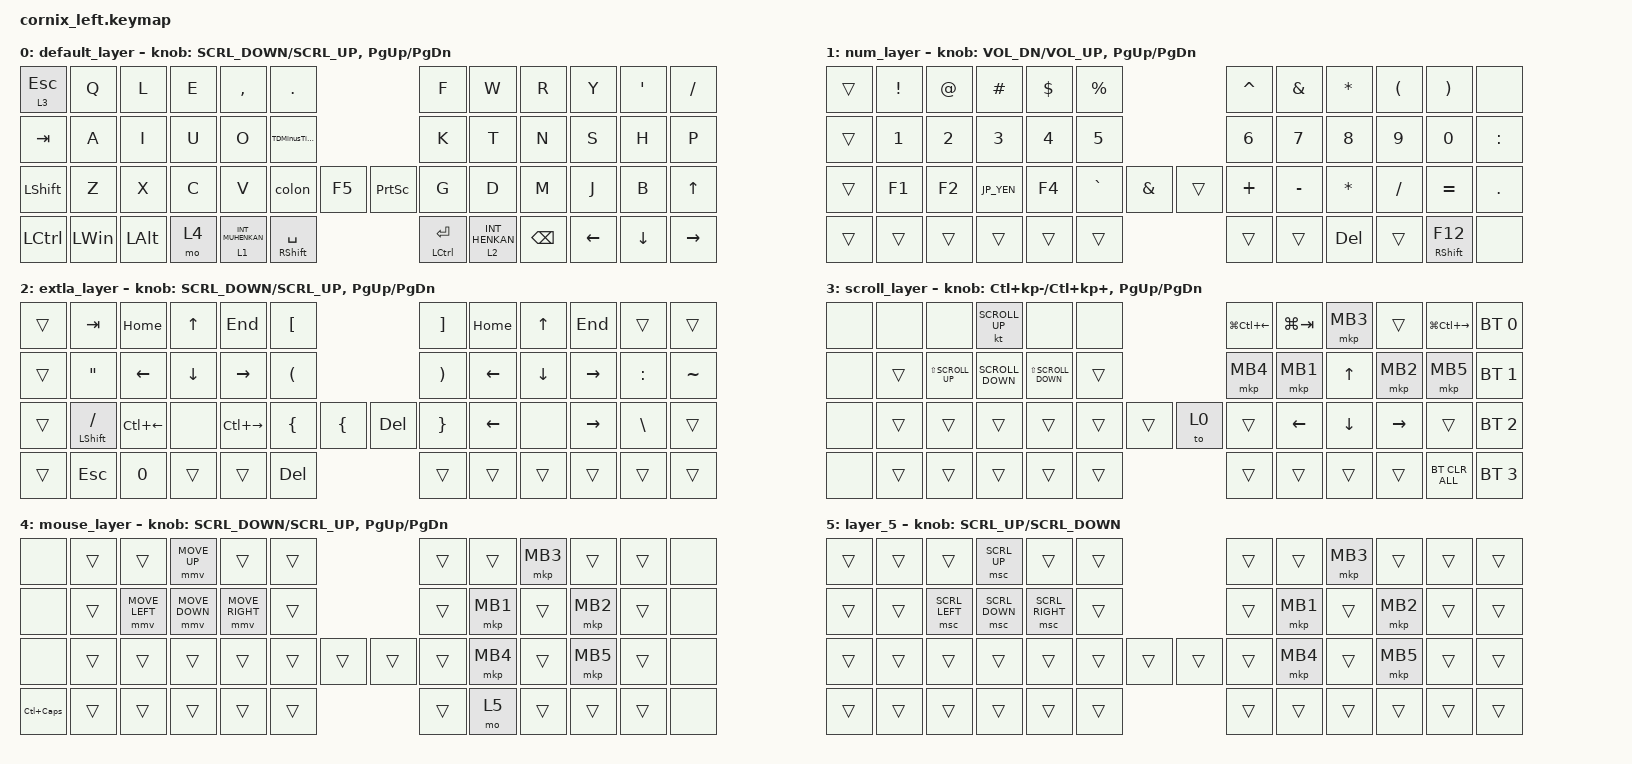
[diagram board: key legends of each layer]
/*
 * Copyright (c) 2025 The ZMK Contributors
 *
 * SPDX-License-Identifier: MIT
 */

#define ZMK_POINTING_DEFAULT_SCRL_VAL 80

#include <input/processors.dtsi>
#include <dt-bindings/zmk/mouse.h>
#include <behaviors.dtsi>
#include <dt-bindings/zmk/bt.h>
#include <dt-bindings/zmk/keys.h>
#include <dt-bindings/zmk/pointing.h>

#define DEFAULT 0
#define FUNCTION 1
#define NUM 2
#define SCROLL 3
#define MOUSE 4

// OS設定を日本語キーボードのまま使用するための変換定義

#define JP_DQUOTE       AT                // "
#define JP_AMPERSAND    CARET             // &
#define JP_QUOTE        AMPERSAND         // '
#define JP_EQUAL        UNDER             // =
#define JP_CARET        EQUAL             // ^
#define JP_YEN          0x89              // ¥
#define JP_PLUS         COLON             // +
#define JP_TILDE        PLUS              // ~
#define JP_PIPE         LS(0x89)          // |
#define JP_AT           LEFT_BRACKET      // @
#define JP_COLON        SINGLE_QUOTE      // :
#define JP_ASTERISK     DOUBLE_QUOTES     // *
#define JP_BACKQUOTE    LEFT_BRACE        // `
#define JP_UNDERSCORE   LS(0x87)          // _
#define JP_LBRACKET     RIGHT_BRACKET     // [
#define JP_RBRACKET     BACKSLASH         // ]
#define JP_LPAREN       ASTERISK          // (
#define JP_RPAREN       LEFT_PARENTHESIS  // )
#define JP_LBRACE       RIGHT_BRACE       // {
#define JP_RBRACE       PIPE              // }
#define JP_KANA         LANGUAGE_1        // かな
#define JP_EISU         LANGUAGE_2        // 英数
#define JP_HANZEN       GRAVE             // 半角/全角

// Configure auto-mouse layer using Input Processor approach
// Based on: https://scrapbox.io/self-made-kbds-ja/ZMK%E3%81%A7%E3%82%AA%E3%83%BC%E3%83%88%E3%83%9E%E3%82%A6%E3%82%B9%E3%83%AC%E3%82%A4%E3%83%A4%E3%83%BC%E3%82%92%E8%A8%AD%E5%AE%9A%E3%81%99%E3%82%8B

&trackball_listener {
    // Auto-mouse layer: activates layer 4 (MOUSE) when trackball moves, 600ms timeout
    // Invert both X and Y axes to reverse trackball direction (180-degree rotation)
    // Value 6 = INPUT_TRANSFORM_X_INVERT (2) | INPUT_TRANSFORM_Y_INVERT (4)
    // Scaler reduces mouse pointer speed to 2/3 for better precision

    input-processors = <
        &zip_xy_transform 6
        &zip_xy_scaler 2 3
        &zip_temp_layer MOUSE 600
    >;
};

// Scroll mode: layer 3 (SCROLL) activates scroller via overlay configuration
// Scroller configuration is in config/boards/cornix_left.overlay

&mt {
    flavor = "balanced";
    quick-tap-ms = <0>;
};

/ {
    combos {
        compatible = "zmk,combos";

        BT_reset {
            bindings = <&bt BT_CLR>;
            key-positions = <1 5>;
            layers = <3>;
        };

        bootloader {
            bindings = <&none>;
            key-positions = <2 3 4>;
            layers = <3>;
        };

        tab {
            bindings = <&kp TAB>;
            key-positions = <14 15>;
            layers = <0>;
        };

        stab {
            bindings = <&kp LS(TAB)>;
            key-positions = <15 16>;
            layers = <0>;
        };

        dq {
            bindings = <&kp DOUBLE_QUOTES>;
            key-positions = <22 21>;
            layers = <0>;
        };

        Lclick {
            bindings = <&mkp LCLK>;
            key-positions = <19 20>;
            slow-release;
        };

        Rclick {
            bindings = <&mkp RCLK>;
            key-positions = <20 21>;
            slow-release;
        };
    };

    macros {
        to_layer_0: to_layer_0 {
            compatible = "zmk,behavior-macro-one-param";
            #binding-cells = <1>;
            bindings = <&to 0 &macro_param_1to1 &kp MACRO_PLACEHOLDER>;
            label = "TO_LAYER_0";
        };
    };

    behaviors {
        // Auto-mouse layer activates on trackball movement

        auto_mouse: auto_mouse {
            compatible = "zmk,behavior-input-two-axis";
            #binding-cells = <1>;
            x-input-code = <INPUT_REL_X>;
            y-input-code = <INPUT_REL_Y>;
            time-to-max-speed-ms = <300>;
            trigger-period-ms = <16>;
        };

        lt_to_layer_0: lt_to_layer_0 {
            compatible = "zmk,behavior-hold-tap";
            label = "LAYER_TAP_TO_0";
            bindings = <&mo>, <&to_layer_0>;

            #binding-cells = <2>;
            tapping-term-ms = <200>;
        };

        tapdance_kana: tapdance_kana {
            compatible = "zmk,behavior-tap-dance";
            label = "TAPDANCE_KANA";
            #binding-cells = <0>;
            bindings = <&kp INT2>, <&kp LANGUAGE_2>, <&sl 1>;

            tapping-term-ms = <400>;
        };

        WheelScroll: WheelScroll {
            compatible = "zmk,behavior-sensor-rotate-var";
            label = "WHEELSCROLL";
            #sensor-binding-cells = <2>;
            bindings = <&msc>, <&msc>;

            tap-ms = <20>;
        };

        colon: colon {
            compatible = "zmk,behavior-mod-morph";
            label = "COLON";
            bindings = <&kp COLON>, <&kp SEMICOLON>;

            #binding-cells = <0>;
            mods = <(MOD_LSFT)>;
        };

        TDMinusTilde: TDMinusTilde {
            compatible = "zmk,behavior-tap-dance";
            label = "TDMINUSTILDE";
            #binding-cells = <0>;
            bindings = <&kp MINUS>, <&kp TILDE>;
        };
    };

    keymap {
        compatible = "zmk,keymap";

        default_layer {
            // -----------------------------------------------------------------------------------------
            // | NONE |  Q  |  W  |  E  |  R  |  T  |                   |  Y  |  U   |  I  |  O  |  P  | NONE |
            // | NONE |  A  |  S  |  D  |  F  |  G  |  MUTE  |  |  UP  | TB  |  J   |  K  |  L  |  -  | NONE |
            // | NONE |  Z  |  X  |  C  |  V  |  B  |  MCLK  |  | DOWN |  N  |  M   |  ,  |  .  |  /  | NONE |
            //               | NONE | CTRL | WIN | ALT | SPC(L1) | GRV(L3) | | BKSP | ENT(L2) | NONE | NONE | NONE | NONE |

            bindings = <
&lt 3 ESC         &kp Q         &kp L         &kp E  &kp COMMA           &kp PERIOD                                &kp F                   &kp W             &kp R          &kp Y     &kp SINGLE_QUOTE  &kp SLASH
&kp TAB           &kp A         &kp I         &kp U  &kp O               &TDMinusTilde                             &kp K                   &kp T             &kp N          &kp S     &kp H             &kp P
&kp LEFT_SHIFT    &kp Z         &kp X         &kp C  &kp V               &colon           &kp F5  &kp PRINTSCREEN  &kp G                   &kp D             &kp M          &kp J     &kp B             &kp UP
&kp LEFT_CONTROL  &kp LEFT_WIN  &kp LEFT_ALT  &mo 4  &lt 1 INT_MUHENKAN  &mt RSHFT SPACE                           &mt LEFT_CONTROL ENTER  &lt 2 INT_HENKAN  &kp BACKSPACE  &kp LEFT  &kp DOWN          &kp RIGHT
            >;

            sensor-bindings = <&WheelScroll SCRL_DOWN SCRL_UP &inc_dec_kp PG_UP PG_DN>;
        };

        num_layer {
            // -----------------------------------------------------------------------------------------
            // | NONE |  F1  |  F2  |  F3  |  F4  |  F5  |                   |  F6  |  F7  |  F8  |  F9  | F10 | NONE |
            // | NONE |  :   |  !   |  /   |  (   |  [   |                   |  _   | MB1  |  UP  | MB2  |  ;  | NONE |
            // | NONE |  ;   |  ?   |  ¥   |  )   |  ]   |   '    |  | TRANS |  @   | LEFT | DOWN | RGT  | F11 | NONE |
            //               | NONE | TRANS| TRANS| TRANS| TRANS | TRANS  |  | TRANS | TRANS| NONE | NONE | NONE | F12 |

            bindings = <
&trans  &kp EXCL  &kp AT  &kp HASH    &kp DOLLAR  &kp PERCENT                        &kp CARET  &kp AMPS   &kp STAR   &kp LPAR   &kp RPAR       &none
&trans  &kp N1    &kp N2  &kp N3      &kp N4      &kp N5                             &kp N6     &kp N7     &kp N8     &kp N9     &kp N0         &kp COLON
&trans  &kp F1    &kp F2  &kp JP_YEN  &kp F4      &kp GRAVE    &kp JP_QUOTE  &trans  &kp PLUS   &kp MINUS  &kp ASTRK  &kp SLASH  &kp EQUAL      &kp PERIOD
&trans  &trans    &trans  &trans      &trans      &trans                             &trans     &trans     &kp DEL    &trans     &mt RSHFT F12  &none
            >;

            sensor-bindings = <&inc_dec_kp C_VOL_DN C_VOL_UP &inc_dec_kp PG_UP PG_DN>;
        };

        extla_layer {
            // -----------------------------------------------------------------------------------------
            // | NONE | TAB  |  7   |  8   |  9   |  -   |                   |  ]   | TRANS| MB3  | TRANS| TRANS| NONE |
            // | NONE |  *   |  4   |  5   |  6   |  +   |                   |  )   | MB1  |  UP  | MB2  |  :   | NONE |
            // | NONE |  /   |  1   |  2   |  3   |  =   |   `    |  |  DEL  |  }   | LEFT | DOWN | RGT  |  /   | NONE |
            //               | NONE |  ESC |  0   |  .   | TRANS |  DEL   |  | TRANS | TRANS| NONE | NONE | NONE | NONE |

            bindings = <
&trans  &kp TAB          &kp HOME      &kp UP    &kp END        &kp LBKT                               &kp RBKT  &kp HOME  &kp UP    &kp END    &trans         &trans
&trans  &kp JP_ASTERISK  &kp LEFT      &kp DOWN  &kp RIGHT      &kp LPAR                               &kp RPAR  &kp LEFT  &kp DOWN  &kp RIGHT  &kp COLON      &kp TILDE
&trans  &mt LSHFT SLASH  &kp LC(LEFT)  &none     &kp LC(RIGHT)  &kp LBRC    &kp JP_BACKQUOTE  &kp DEL  &kp RBRC  &kp LEFT  &none     &kp RIGHT  &kp BACKSLASH  &trans
&trans  &kp ESC          &kp N0        &trans    &trans         &kp DELETE                             &trans    &trans    &trans    &trans     &trans         &trans
            >;

            sensor-bindings = <&WheelScroll SCRL_DOWN SCRL_UP &inc_dec_kp PG_UP PG_DN>;
        };

        scroll_layer {
            // -----------------------------------------------------------------------------------------
            // | NONE | BT0  | BT1  | BT2  | BT3  | BT4  |                   | ⌘⌃← | ⌘TAB | MB3  | TRANS| ⌘⌃→ | NONE |
            // | NONE | TRANS| TRANS| TRANS| TRANS| TRANS|                   | MB4  | MB1  |  UP  | MB2  | MB5  | NONE |
            // | NONE | TRANS| TRANS| TRANS| TRANS| TRANS| TRANS |  |  TO0  | TRANS| LEFT | DOWN | RGT  | TRANS| NONE |
            //               | NONE | TRANS| TRANS| TRANS| TO0   | TRANS  |  | TRANS | TRANS| NONE | NONE | NONE | NONE |

            bindings = <
&none  &none   &none                &kt K_SCROLL_UP    &none                  &none                  &kp LG(LC(LEFT))  &kp LG(TAB)  &mkp MB3  &trans     &kp LG(LC(RIGHT))  &bt BT_SEL 0
&none  &trans  &kp LS(K_SCROLL_UP)  &kp K_SCROLL_DOWN  &kp LS(K_SCROLL_DOWN)  &trans                 &mkp MB4          &mkp MB1     &kp UP    &mkp MB2   &mkp MB5           &bt BT_SEL 1
&none  &trans  &trans               &trans             &trans                 &trans  &trans  &to 0  &trans            &kp LEFT     &kp DOWN  &kp RIGHT  &trans             &bt BT_SEL 2
&none  &trans  &trans               &trans             &trans                 &trans                 &trans            &trans       &trans    &trans     &bt BT_CLR_ALL     &bt BT_SEL 3
            >;

            sensor-bindings = <&inc_dec_kp LC(KP_MINUS) LC(KP_PLUS) &inc_dec_kp PG_UP PG_DN>;
        };

        mouse_layer {
            // -----------------------------------------------------------------------------------------
            // | NONE | TRANS| TRANS| TRANS| TRANS| TRANS|                   | TRANS| TRANS| MB3  | TRANS| TRANS| NONE |
            // | NONE | TRANS| TRANS| TRANS| TRANS| TRANS|        |  |  TO0  | TRANS| MB1  | UP   | MB2  | TRANS| NONE |
            // | NONE | TRANS| TRANS| TRANS| TRANS| TRANS| TRANS |  | TRANS | TRANS| LEFT | DOWN | RGT  | TRANS| NONE |
            //               | NONE | TRANS| TRANS| TRANS| SPC(L1) | GRV(L3) |  | TRANS | ENT(L2) | NONE | NONE | NONE | BOOT |

            bindings = <
&none         &trans  &trans          &mmv MOVE_UP    &trans           &trans                  &trans  &trans    &mkp MB3  &trans    &trans  &none
&none         &trans  &mmv MOVE_LEFT  &mmv MOVE_DOWN  &mmv MOVE_RIGHT  &trans                  &trans  &mkp MB1  &trans    &mkp MB2  &trans  &none
&none         &trans  &trans          &trans          &trans           &trans  &trans  &trans  &trans  &mkp MB4  &trans    &mkp MB5  &trans  &none
&kp LC(CAPS)  &trans  &trans          &trans          &trans           &trans                  &trans  &mo 5     &trans    &trans    &trans  &none
            >;

            sensor-bindings = <&WheelScroll SCRL_DOWN SCRL_UP &inc_dec_kp PG_UP PG_DN>;
        };

        layer_5 {
            bindings = <
&trans  &trans  &trans          &msc SCRL_UP    &trans           &trans                  &trans  &trans    &mkp MB3  &trans    &trans  &trans
&trans  &trans  &msc SCRL_LEFT  &msc SCRL_DOWN  &msc SCRL_RIGHT  &trans                  &trans  &mkp MB1  &trans    &mkp MB2  &trans  &trans
&trans  &trans  &trans          &trans          &trans           &trans  &trans  &trans  &trans  &mkp MB4  &trans    &mkp MB5  &trans  &trans
&trans  &trans  &trans          &trans          &trans           &trans                  &trans  &trans    &trans    &trans    &trans  &trans
            >;

            sensor-bindings = <&WheelScroll SCRL_UP SCRL_DOWN>;
        };
    };
};
